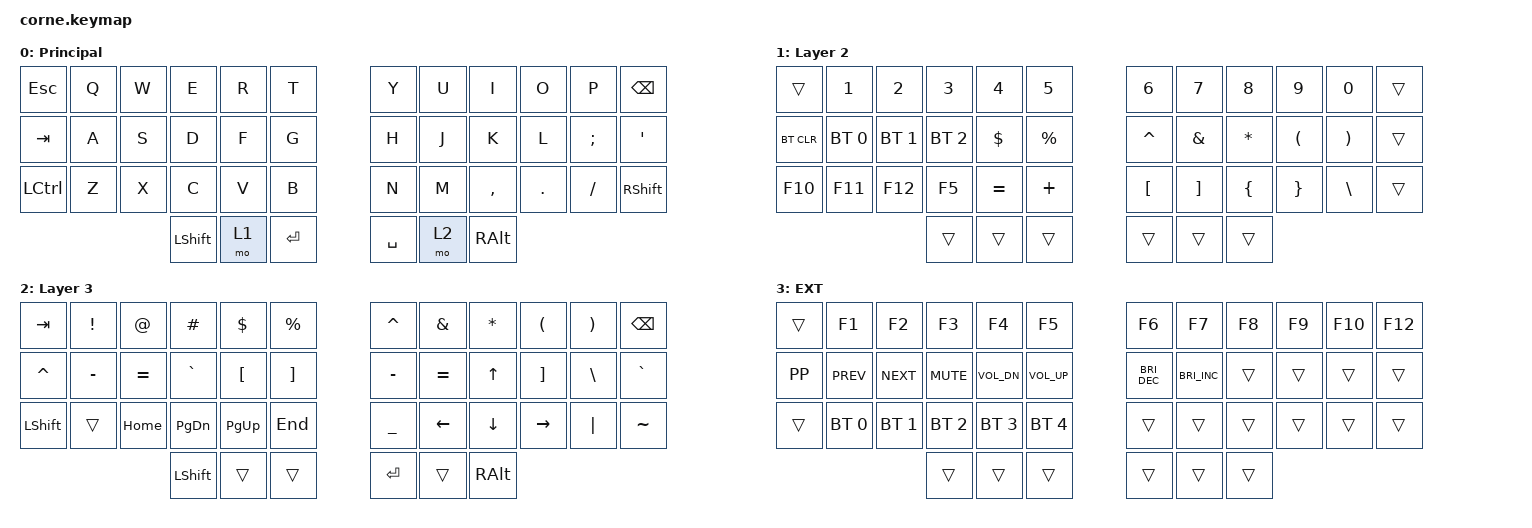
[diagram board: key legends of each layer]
#include <behaviors.dtsi>
#include <dt-bindings/zmk/bt.h>
#include <dt-bindings/zmk/keys.h>

&led_strip {
    chain-length = <0>;

    // chain-length = <27>;
    // 21 backlight + 6 glowlight
};

#define TAPPING_TERM 200

/ {
    behaviors {
        /*
    * td_lock groups locking functions into one key:
    *  - tap once to lock the host
    *  - tap twice to put the host to sleep
    */

        td_lock: tap_dance_lock {
            compatible = "zmk,behavior-tap-dance";
            label = "TAP_DANCE_LOCK";
            #binding-cells = <0>;
            tapping-term-ms = <TAPPING_TERM>;
            bindings = <&kp LG(LC(Q))>, <&kp LG(LA(C_EJECT))>;
        };
    };

    combos {
        compatible = "zmk,combos";

        Clear_BLE_Profile {
            bindings = <&bt BT_CLR>;
            key-positions = <0 38 5>;
        };

        Space {
            bindings = <&kp SPACE>;
            key-positions = <29 28>;
        };

        Enter {
            bindings = <&kp ENTER>;
            key-positions = <17 16>;
        };

        Capslock {
            bindings = <&kp CLCK>;
            key-positions = <5 6>;
        };
    };

    macros {
        git_status: git_status {
            compatible = "zmk,behavior-macro";
            #binding-cells = <0>;
            bindings = <&kp G &kp I &kp T &kp SPACE &kp S &kp T &kp A &kp T &kp U &kp S>;
            label = "GIT_STATUS";
        };

        git_commit_all: git_commit_all {
            compatible = "zmk,behavior-macro";
            #binding-cells = <0>;
            bindings = <&kp G &kp I &kp T &kp SPACE &kp C &kp O &kp M &kp M &kp I &kp T &kp SPACE &kp MINUS &kp A &kp MINUS &kp M &kp SPACE &kp DQT &kp DQT &kp LEFT_ARROW>;
            label = "GIT_COMMIT";
        };
    };

    keymap {
        compatible = "zmk,keymap";

        base_layer {
            label = "Principal";
            bindings = <
&kp ESC           &kp Q  &kp W  &kp E           &kp R  &kp T        &kp Y      &kp U  &kp I          &kp O    &kp P      &kp BACKSPACE
&kp TAB           &kp A  &kp S  &kp D           &kp F  &kp G        &kp H      &kp J  &kp K          &kp L    &kp SEMI   &kp SINGLE_QUOTE
&kp LEFT_CONTROL  &kp Z  &kp X  &kp C           &kp V  &kp B        &kp N      &kp M  &kp COMMA      &kp DOT  &kp SLASH  &kp RIGHT_SHIFT
                                &kp LEFT_SHIFT  &mo 1  &kp ENTER    &kp SPACE  &mo 2  &kp RIGHT_ALT
            >;
        };

        symbols_layer {
            label = "Layer 2";
            bindings = <
&trans      &kp N1        &kp N2        &kp N3        &kp N4     &kp N5       &kp N6            &kp N7             &kp N8          &kp N9           &kp N0         &trans
&bt BT_CLR  &bt BT_SEL 0  &bt BT_SEL 1  &bt BT_SEL 2  &kp DLLR   &kp PRCNT    &kp CARET         &kp AMPS           &kp ASTERISK    &kp LPAR         &kp RPAR       &trans
&kp F10     &kp F11       &kp F12       &kp F5        &kp EQUAL  &kp PLUS     &kp LEFT_BRACKET  &kp RIGHT_BRACKET  &kp LEFT_BRACE  &kp RIGHT_BRACE  &kp BACKSLASH  &trans
                                        &trans        &trans     &trans       &trans            &trans             &trans
            >;
        };

        nav_layer {
            label = "Layer 3";
            bindings = <
&kp TAB         &kp EXCLAMATION  &kp AT_SIGN  &kp HASH        &kp DOLLAR        &kp PERCENT          &kp CARET       &kp AMPERSAND  &kp ASTERISK   &kp LEFT_PARENTHESIS  &kp RIGHT_PARENTHESIS  &kp BACKSPACE
&kp CARET       &kp MINUS        &kp EQUAL    &kp GRAVE       &kp LEFT_BRACKET  &kp RIGHT_BRACKET    &kp MINUS       &kp EQUAL      &kp UP         &kp RIGHT_BRACKET     &kp BACKSLASH          &kp GRAVE
&kp LEFT_SHIFT  &trans           &kp HOME     &kp PG_DN       &kp PG_UP         &kp END              &kp UNDERSCORE  &kp LEFT       &kp DOWN       &kp RIGHT             &kp PIPE               &kp TILDE
                                              &kp LEFT_SHIFT  &trans            &trans               &kp ENTER       &trans         &kp RIGHT_ALT
            >;
        };

        extended_layer {
            label = "EXT";
            bindings = <
&trans    &kp F1        &kp F2        &kp F3        &kp F4        &kp F5          &kp F6                &kp F7                &kp F8  &kp F9  &kp F10  &kp F12
&kp K_PP  &kp K_PREV    &kp K_NEXT    &kp K_MUTE    &kp C_VOL_DN  &kp C_VOL_UP    &kp C_BRIGHTNESS_DEC  &kp C_BRIGHTNESS_INC  &trans  &trans  &trans   &trans
&trans    &bt BT_SEL 0  &bt BT_SEL 1  &bt BT_SEL 2  &bt BT_SEL 3  &bt BT_SEL 4    &trans                &trans                &trans  &trans  &trans   &trans
                                      &trans        &trans        &trans          &trans                &trans                &trans
            >;
        };
    };

    conditional_layers {
        compatible = "zmk,conditional-layers";

        Activate_EXT {
            if-layers = <1 2>;
            then-layer = <3>;
        };
    };
};
